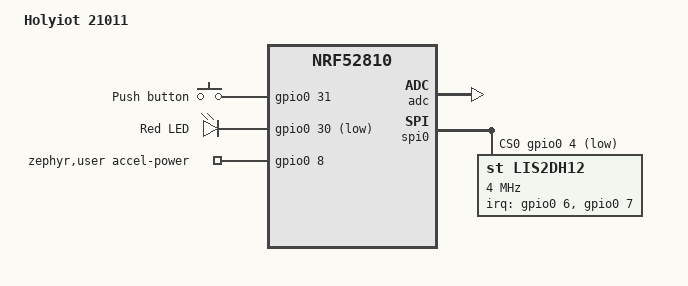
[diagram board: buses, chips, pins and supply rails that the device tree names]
/*
 * Holyiot HOLYIOT-21011 v1.0: nRF52810-QFAA + LIS2DH12, CR2032.
 *
 * Пины взяты со схемы HOLYIOT-21014 V1.0 (2021/11/13), та же плата с RGB-светодиодом.
 * Для 21011 v1.0 независимо подтверждены кнопка P0.31 (активный высокий) и
 * светодиод P0.30 (активный низкий), а LIS2DH12 отвечал на P0.02/P0.05 с питанием от P0.08.
 *
 *   P0.02  SDI  (MOSI)          P0.06  INT1
 *   P0.03  SDO  (MISO / SA0)    P0.07  INT2
 *   P0.04  CS                   P0.08  LVCC: питание LIS2DH12 (VDD и VDD_IO)
 *   P0.05  SCK                  P0.30  LED (катод через 1 кОм, анод на VDD)
 *   P0.00/P0.01  кварц 32.768 кГц (если установлен)
 *   P0.31  KEY (кнопка на VDD, подтяжка 100 кОм к GND)
 *
 * SPDX-License-Identifier: Apache-2.0
 */

/dts-v1/;
#include <nordic/nrf52810_qfaa.dtsi>
#include "holyiot_21011-pinctrl.dtsi"
#include <zephyr/dt-bindings/input/input-event-codes.h>

/ {
	model = "Holyiot 21011";
	compatible = "holyiot,21011";

	chosen {
		zephyr,sram = &sram0;
		zephyr,flash = &flash0;
		zephyr,code-partition = &slot0_partition;
	};

	buttons {
		compatible = "gpio-keys";

		button0: button_0 {
			gpios = <&gpio0 31 GPIO_ACTIVE_HIGH>;
			label = "Push button";
			zephyr,code = <INPUT_KEY_0>;
		};
	};

	leds {
		compatible = "gpio-leds";

		led0: led_0 {
			gpios = <&gpio0 30 GPIO_ACTIVE_LOW>;
			label = "Red LED";
		};
	};

	zephyr,user {
		/* Питание акселерометра: высокий уровень включает LIS2DH12. */
		accel-power-gpios = <&gpio0 8 GPIO_ACTIVE_HIGH>;
	};

	aliases {
		led0 = &led0;
		sw0 = &button0;
		accel0 = &lis2dh12;
	};
};

/*
 * DC/DC по умолчанию выключен (работает LDO). Если на плате у вывода DCC стоят
 * дроссели 10 мкГн и 15 нГн, DC/DC включается оверлеем boards/dcdc.overlay.
 * Включённый DC/DC без дросселей не даёт чипу работать.
 */

&gpiote {
	status = "okay";
};

&gpio0 {
	status = "okay";
	/* Фронты кнопки P0.31 ловятся механизмом SENSE (PORT event), а не каналом GPIOTE:
	 * канал GPIOTE в режиме event держит включённым тактирование и заметно ест ток.
	 */
	sense-edge-mask = <0x80000000>;
};

&adc {
	status = "okay";
};

&spi0 {
	compatible = "nordic,nrf-spim";
	status = "okay";
	pinctrl-0 = <&spi0_default>;
	pinctrl-1 = <&spi0_sleep>;
	pinctrl-names = "default", "sleep";
	cs-gpios = <&gpio0 4 GPIO_ACTIVE_LOW>;

	lis2dh12: lis2dh12@0 {
		compatible = "st,lis2dh12", "st,lis2dh";
		reg = <0>;
		/* LIS2DH12 допускает до 10 МГц; 4 МГц с запасом для коротких дорожек. */
		spi-max-frequency = <4000000>;
		irq-gpios = <&gpio0 6 GPIO_ACTIVE_HIGH>, <&gpio0 7 GPIO_ACTIVE_HIGH>;
	};
};

&flash0 {
	partitions {
		ranges;
		#address-cells = <1>;
		#size-cells = <1>;

		/* Без загрузчика: образ с адреса 0 (так проще заливать .bin со смещением 0). */
		slot0_partition: partition@0 {
			compatible = "zephyr,mapped-partition";
			label = "image-0";
			reg = <0x00000000 0x0002e000>;
		};

		/* 8 КБ (2 страницы) под NVS/settings: там хранится калибровка. */
		storage_partition: partition@2e000 {
			compatible = "zephyr,mapped-partition";
			label = "storage";
			reg = <0x0002e000 0x00002000>;
		};
	};
};
